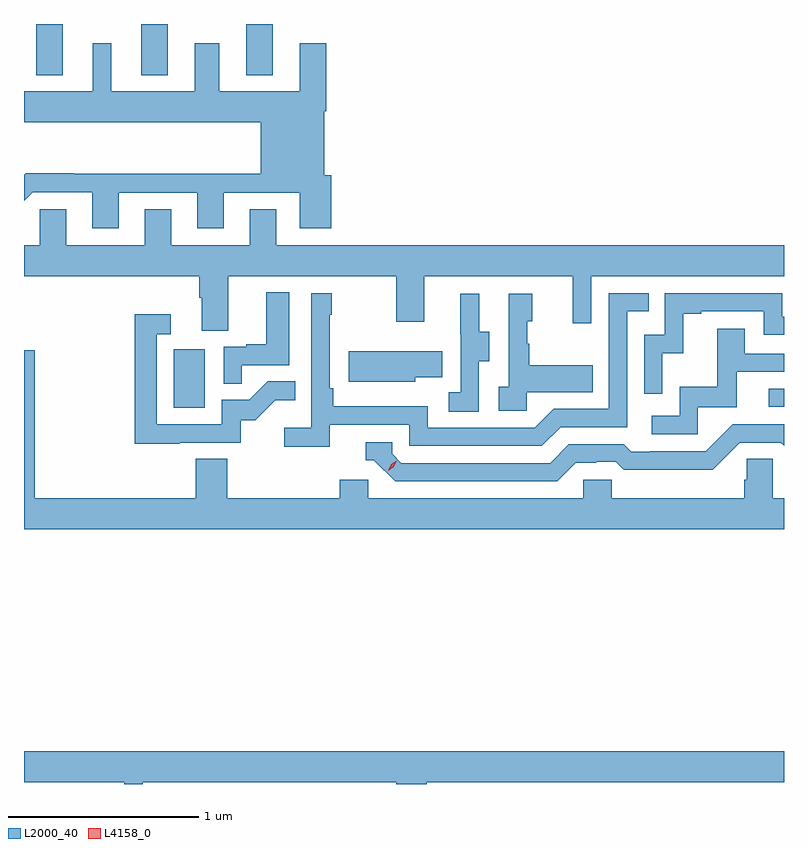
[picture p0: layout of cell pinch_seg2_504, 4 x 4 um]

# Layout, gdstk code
import gdstk
lib = gdstk.Library(unit=1e-6, precision=1e-09)
def R(c, l, rs):  # rectangles x0, y0, x1, y1
    for r in rs: c.add(gdstk.rectangle(r[:2], r[2:], *l))
def A(c, l, x, y, w, h, nx, ny, dx, dy):  # array of equal rectangles
    R(c, l, [(x+i*dx, y+j*dy, x+i*dx+w, y+j*dy+h) for i in range(nx) for j in range(ny)])
def P(c, l, *ps):  # polygons
    for p in ps: c.add(gdstk.Polygon(p, *l))
L2000_40 = (2000, 40)
L4158_0 = (4158, 0)

pinch_seg2_504 = lib.new_cell('pinch_seg2_504')
A(pinch_seg2_504, L2000_40, 997.097, 599.411, 0.14, 0.269, 3, 1, 0.552, 0)
R(pinch_seg2_504, L2000_40, [(997.82,597.66,997.984,597.967), (1000.953,597.666,1001.032,597.759)])
P(pinch_seg2_504, L2000_40, [(997.531,598.791),(997.943,598.791),(997.943,598.605),(998.083,598.605),(998.083,598.791),(998.483,598.791),(998.483,598.605),(998.648,598.605),(998.648,598.884),(998.611,598.884),(998.611,599.222),(998.624,599.222),(998.624,599.578),(998.483,599.578),(998.483,599.326),(998.059,599.326),(998.059,599.578),(997.931,599.578),(997.931,599.326),(997.492,599.326),(997.492,599.578),(997.394,599.578),(997.394,599.326),(997.032,599.326),(997.032,599.162),(998.279,599.162),(998.279,598.892),(997.295,598.892),(997.295,598.895),(997.04,598.895),(997.032,598.887),(997.032,598.749),(997.077,598.794),(997.391,598.794),(997.391,598.605),(997.531,598.605)],
  [(998.107,598.352),(998.992,598.352),(998.992,598.113),(999.139,598.113),(999.139,598.352),(999.92,598.352),(999.92,598.104),(1000.017,598.104),(1000.017,598.352),(1001.032,598.352),(1001.032,598.516),(998.359,598.516),(998.359,598.706),(998.219,598.706),(998.219,598.516),(997.807,598.516),(997.807,598.706),(997.667,598.706),(997.667,598.516),(997.255,598.516),(997.255,598.706),(997.116,598.706),(997.116,598.516),(997.032,598.516),(997.032,598.352),(997.955,598.352),(997.955,598.24),(997.967,598.24),(997.967,598.066),(998.107,598.066)],
  [(998.177,597.885),(998.428,597.885),(998.428,598.267),(998.306,598.267),(998.306,597.994),(998.203,597.994),(998.203,597.981),(998.082,597.981),(998.082,597.787),(998.177,597.787)],
  [(998.642,597.57),(999.06,597.57),(999.06,597.459),(999.757,597.459),(999.856,597.558),(1000.206,597.558),(1000.206,598.167),(1000.319,598.167),(1000.319,598.263),(1000.11,598.263),(1000.11,597.654),(999.819,597.654),(999.72,597.555),(999.156,597.555),(999.156,597.667),(998.66,597.667),(998.66,597.763),(998.64,597.763),(998.64,598.151),(998.653,598.151),(998.653,598.264),(998.544,598.264),(998.544,597.556),(998.403,597.556),(998.403,597.454),(998.642,597.454)],
  [(1000.392,597.947),(1000.502,597.947),(1000.502,598.155),(1000.597,598.155),(1000.597,598.167),(1000.926,598.167),(1000.926,598.044),(1001.032,598.044),(1001.032,598.14),(1001.022,598.14),(1001.022,598.263),(1000.404,598.263),(1000.404,598.044),(1000.296,598.044),(1000.296,597.735),(1000.392,597.735)],
  [(999.678,597.743),(1000.025,597.743),(1000.025,597.883),(999.691,597.883),(999.691,597.998),(999.681,597.998),(999.681,598.116),(999.706,598.116),(999.706,598.261),(999.582,598.261),(999.582,597.77),(999.531,597.77),(999.531,597.645),(999.678,597.645)],
  [(999.426,597.904),(999.481,597.904),(999.481,598.059),(999.427,598.059),(999.427,598.261),(999.329,598.261),(999.329,598.047),(999.33,598.047),(999.33,597.743),(999.267,597.743),(999.267,597.64),(999.426,597.64)],
  [(997.853,597.477),(998.172,597.477),(998.172,597.594),(998.248,597.594),(998.355,597.701),(998.459,597.701),(998.459,597.8),(998.316,597.8),(998.218,597.702),(998.073,597.702),(998.073,597.573),(997.731,597.573),(997.731,598.047),(997.804,598.047),(997.804,598.153),(997.615,598.153),(997.615,597.472),(997.853,597.472)],
  [(1000.578,597.663),(1000.783,597.663),(1000.783,597.849),(1001.032,597.849),(1001.032,597.945),(1000.825,597.945),(1000.825,598.075),(1000.681,598.075),(1000.681,597.772),(1000.482,597.772),(1000.482,597.618),(1000.335,597.618),(1000.335,597.522),(1000.578,597.522)],
  [(1001.032,597.184),(1000.974,597.184),(1000.974,597.392),(1000.837,597.392),(1000.837,597.282),(1000.823,597.282),(1000.823,597.184),(1000.125,597.184),(1000.125,597.282),(999.975,597.282),(999.975,597.184),(998.844,597.184),(998.844,597.282),(998.693,597.282),(998.693,597.184),(998.102,597.184),(998.102,597.392),(997.937,597.392),(997.937,597.184),(997.088,597.184),(997.088,597.964),(997.032,597.964),(997.032,597.02),(1001.032,597.02)],
  [(999.09,597.821),(999.233,597.821),(999.233,597.958),(998.742,597.958),(998.742,597.797),(999.09,597.797)],
  [(999.937,597.372),(1000.044,597.372),(1000.044,597.375),(1000.147,597.375),(1000.189,597.333),(1000.422,597.333),(1000.422,597.335),(1000.658,597.335),(1000.8,597.477),(1001.016,597.477),(1001.032,597.461),(1001.032,597.573),(1000.761,597.573),(1000.62,597.432),(1000.327,597.432),(1000.327,597.429),(1000.228,597.429),(1000.189,597.468),(999.9,597.468),(999.801,597.369),(999.018,597.369),(998.97,597.417),(998.97,597.48),(998.831,597.48),(998.831,597.384),(998.874,597.384),(998.985,597.273),(999.838,597.273)],
  [(997.656,595.688),(998.992,595.688),(998.992,595.68),(999.152,595.68),(999.152,595.688),(1001.032,595.688),(1001.032,595.852),(997.032,595.852),(997.032,595.688),(997.56,595.688),(997.56,595.68),(997.656,595.68)])
P(pinch_seg2_504, L4158_0, [(998.948,597.33),(998.948,597.33),(998.964,597.363),(998.995,597.382),(998.995,597.382),(998.995,597.382),(998.979,597.349),(998.948,597.33)])

lib.write_gds('pinch_seg2_504.gds')
